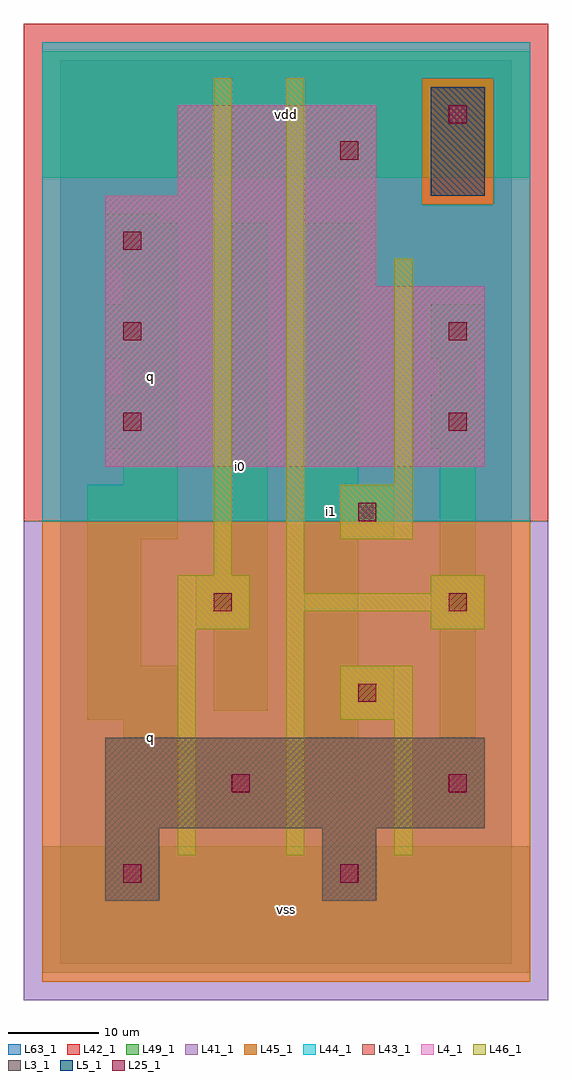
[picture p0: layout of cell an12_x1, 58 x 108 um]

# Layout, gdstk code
import gdstk
lib = gdstk.Library(unit=1e-6, precision=1e-09)
def R(c, l, rs):  # rectangles x0, y0, x1, y1
    for r in rs: c.add(gdstk.rectangle(r[:2], r[2:], *l))
def A(c, l, x, y, w, h, nx, ny, dx, dy):  # array of equal rectangles
    R(c, l, [(x+i*dx, y+j*dy, x+i*dx+w, y+j*dy+h) for i in range(nx) for j in range(ny)])
L3_1 = (3, 1)
L4_1 = (4, 1)
L5_1 = (5, 1)
L25_1 = (25, 1)
L41_1 = (41, 1)
L42_1 = (42, 1)
L43_1 = (43, 1)
L44_1 = (44, 1)
L45_1 = (45, 1)
L46_1 = (46, 1)
L49_1 = (49, 1)
L63_1 = (63, 1)

an12_x1 = lib.new_cell('an12_x1')
R(an12_x1, L3_1, [(5,7,11,15), (29,7,35,15), (5,15,47,25)])
R(an12_x1, L4_1, [(5,55,47,75), (5,75,35,85), (13,85,35,95)])
R(an12_x1, L5_1, [(41,85,47,97)])
A(an12_x1, L25_1, 43, 19, 2, 2, 1, 3, 0, 20)
A(an12_x1, L25_1, 7, 59, 2, 2, 1, 3, 0, 10)
R(an12_x1, L25_1, [(7,9,9,11), (31,9,33,11), (19,19,21,21), (33,29,35,31), (17,39,19,41), (33,49,35,51), (43,69,45,71), (31,89,33,91), (43,93,45,95)])
R(an12_x1, L41_1, [(-4,-4,54,49)])
R(an12_x1, L42_1, [(-4,49,54,104)])
R(an12_x1, L43_1, [(5,7,11,15), (29,7,35,15), (5,15,47,25), (5,55,47,75), (5,75,35,85), (13,85,35,95), (41,85,47,97)])
R(an12_x1, L44_1, [(-2,49,52,84), (-2,84,40,98), (48,84,52,98), (-2,98,52,102)])
R(an12_x1, L45_1, [(-2,-2,52,49), (40,84,48,98)])
R(an12_x1, L46_1, [(13,12,15,37), (25,12,27,39), (37,12,39,27), (31,27,39,33), (13,37,21,43), (41,37,47,39), (25,39,47,41), (25,41,27,98), (41,41,47,43), (17,43,19,98), (31,47,39,53), (37,53,39,78)])
A(an12_x1, L49_1, 41, 17, 6, 6, 1, 3, 0, 20)
A(an12_x1, L49_1, 7, 53, 6, 4, 1, 3, 0, 10)
R(an12_x1, L49_1, [(-2,-1,52,13), (7,17,23,23), (27,18,33,27), (7,23,13,27), (42,23,46,37), (3,27,13,33), (27,27,37,33), (17,28,23,37), (3,33,9,47), (27,33,33,47), (15,37,23,43), (17,43,23,82), (42,43,46,57), (3,47,13,53), (27,47,37,53), (27,53,33,82), (5,57,13,63), (42,63,46,67), (5,67,13,73), (41,67,47,73), (5,77,13,82), (5,82,11,83), (-2,87,52,101)])
R(an12_x1, L63_1, [(0,0,50,100)])
an12_x1.add(gdstk.Label('q', (10,25), layer=49, texttype=1))
an12_x1.add(gdstk.Label('q', (10,25), layer=49, texttype=1))
an12_x1.add(gdstk.Label('q', (10,65), layer=49, texttype=1))
an12_x1.add(gdstk.Label('q', (10,65), layer=49, texttype=1))
an12_x1.add(gdstk.Label('i0', (20,55), layer=49, texttype=1))
an12_x1.add(gdstk.Label('i0', (20,55), layer=49, texttype=1))
an12_x1.add(gdstk.Label('vss', (25,6), layer=49, texttype=1))
an12_x1.add(gdstk.Label('vss', (25,6), layer=49, texttype=1))
an12_x1.add(gdstk.Label('i1', (30,50), layer=49, texttype=1))
an12_x1.add(gdstk.Label('i1', (30,50), layer=49, texttype=1))
an12_x1.add(gdstk.Label('vdd', (25,94), layer=49, texttype=1))
an12_x1.add(gdstk.Label('vdd', (25,94), layer=49, texttype=1))

lib.write_gds('an12_x1.gds')
